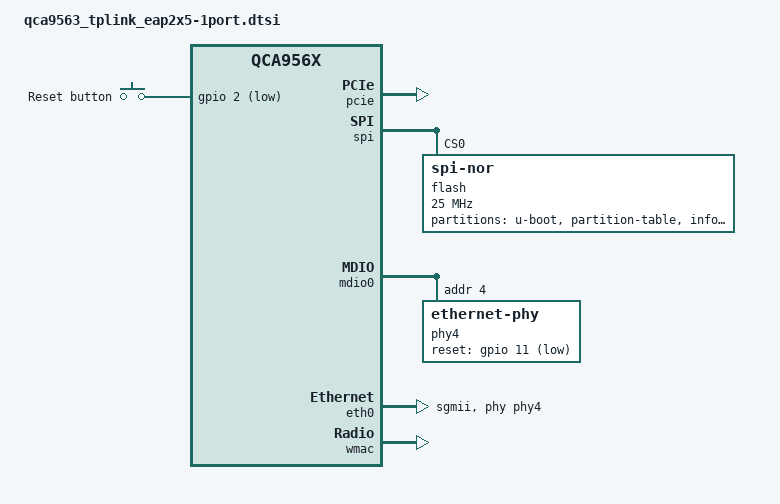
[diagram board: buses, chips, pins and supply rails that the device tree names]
// SPDX-License-Identifier: GPL-2.0-or-later OR MIT

#include "qca956x.dtsi"

#include <dt-bindings/gpio/gpio.h>
#include <dt-bindings/input/input.h>

/ {
	aliases {
		label-mac-device = &eth0;
	};

	keys {
		compatible = "gpio-keys";

		reset {
			label = "Reset button";
			linux,code = <KEY_RESTART>;
			gpios = <&gpio 2 GPIO_ACTIVE_LOW>;
			debounce-interval = <60>;
		};
	};
};

&pcie {
	status = "okay";
};

&spi {
	status = "okay";

	flash@0 {
		compatible = "jedec,spi-nor";
		reg = <0>;
		spi-max-frequency = <25000000>;

		partitions {
			compatible = "fixed-partitions";
			#address-cells = <1>;
			#size-cells = <1>;

			partition@0 {
				label = "u-boot";
				reg = <0x000000 0x020000>;
				read-only;
			};

			partition@20000 {
				label = "partition-table";
				reg = <0x020000 0x010000>;
				read-only;
			};

			info: partition@30000 {
				label = "info";
				reg = <0x030000 0x010000>;
				read-only;
			};

			partition@40000 {
				compatible = "openwrt,elf";
				label = "firmware";
				reg = <0x040000 0xd80000>;
			};

			partition@dc0000 {
				label = "config";
				reg = <0xdc0000 0x030000>;
				read-only;
			};

			/* df0000-f30000 undefined in vendor firmware */

			partition@f30000 {
				label = "log";
				reg = <0xf30000 0x0c0000>;
				read-only;
			};

			art: partition@ff0000 {
				label = "art";
				reg = <0xff0000 0x010000>;
				read-only;
			};
		};
	};
};

&pinmux {
	mdio_pins: mdio_pins {
		/* GPIO 10 as MDIO(0x20), GPIO 8 as MDC(0x21) */
		pinctrl-single,bits = <0x8 0x00200021 0x00ff00ff>;
	};
};

&mdio0 {
	status = "okay";

	pinctrl-names = "default";
	pinctrl-0 = <&mdio_pins>;

	phy-mask = <0x10>;

	phy4: ethernet-phy@4 {
		reg = <4>;
		reset-gpios = <&gpio 11 GPIO_ACTIVE_LOW>;
	};
};

&eth0 {
	status = "okay";

	phy-handle = <&phy4>;
	phy-mode = "sgmii";
	pll-data = <0x03000000 0x00000101 0x00001313>;

	nvmem-cells = <&macaddr_info_8>;
	nvmem-cell-names = "mac-address";

	qca956x-serdes-fixup;

	gmac-config {
		device = <&gmac>;
	};
};

&wmac {
	status = "okay";

	mtd-cal-data = <&art 0x1000>;
	nvmem-cells = <&macaddr_info_8>;
	nvmem-cell-names = "mac-address";
};

&info {
	compatible = "nvmem-cells";
	#address-cells = <1>;
	#size-cells = <1>;

	macaddr_info_8: macaddr@8 {
		reg = <0x8 0x6>;
	};
};
